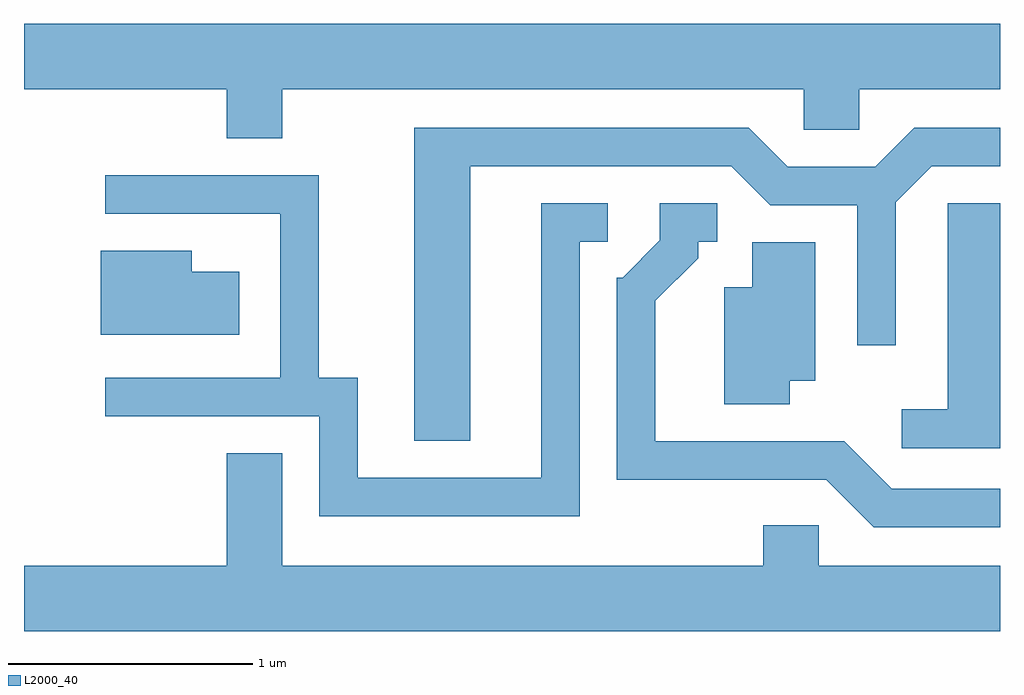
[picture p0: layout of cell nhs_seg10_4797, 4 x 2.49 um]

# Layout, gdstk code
import gdstk
lib = gdstk.Library(unit=1e-6, precision=1e-09)
def P(c, l, *ps):  # polygons
    for p in ps: c.add(gdstk.Polygon(p, *l))
L2000_40 = (2000, 40)

nhs_seg10_4797 = lib.new_cell('nhs_seg10_4797')
P(nhs_seg10_4797, L2000_40, [(326.669,2196.056),(328.806,2196.056),(328.806,2195.891),(329.034,2195.891),(329.034,2196.056),(329.611,2196.056),(329.611,2196.324),(325.611,2196.324),(325.611,2196.056),(326.441,2196.056),(326.441,2195.856),(326.669,2195.856)],
  [(327.439,2195.741),(328.509,2195.741),(328.669,2195.581),(329.026,2195.581),(329.026,2195.008),(329.184,2195.008),(329.184,2195.594),(329.332,2195.741),(329.611,2195.741),(329.611,2195.899),(329.259,2195.899),(329.099,2195.739),(328.742,2195.739),(328.582,2195.899),(327.211,2195.899),(327.211,2194.616),(327.439,2194.616)],
  [(327.889,2195.431),(328.003,2195.431),(328.003,2195.589),(327.731,2195.589),(327.731,2194.464),(326.979,2194.464),(326.979,2194.874),(326.819,2194.874),(326.819,2195.704),(325.943,2195.704),(325.943,2195.546),(326.661,2195.546),(326.661,2194.874),(325.943,2194.874),(325.943,2194.716),(326.821,2194.716),(326.821,2194.306),(327.889,2194.306)],
  [(329.611,2194.419),(329.167,2194.419),(328.972,2194.614),(328.199,2194.614),(328.199,2195.189),(328.374,2195.364),(328.374,2195.431),(328.453,2195.431),(328.453,2195.589),(328.216,2195.589),(328.216,2195.437),(328.064,2195.284),(328.041,2195.284),(328.041,2194.456),(328.899,2194.456),(329.094,2194.261),(329.611,2194.261)],
  [(329.611,2195.589),(329.396,2195.589),(329.396,2194.744),(329.208,2194.744),(329.208,2194.586),(329.611,2194.586)],
  [(328.749,2194.861),(328.854,2194.861),(328.854,2195.429),(328.596,2195.429),(328.596,2195.244),(328.481,2195.244),(328.481,2194.766),(328.749,2194.766)],
  [(326.494,2195.309),(326.299,2195.309),(326.299,2195.394),(325.926,2195.394),(325.926,2195.051),(326.494,2195.051)],
  [(329.611,2194.104),(328.869,2194.104),(328.869,2194.269),(328.641,2194.269),(328.641,2194.104),(326.669,2194.104),(326.669,2194.564),(326.441,2194.564),(326.441,2194.104),(325.611,2194.104),(325.611,2193.836),(329.611,2193.836)])

lib.write_gds('nhs_seg10_4797.gds')
